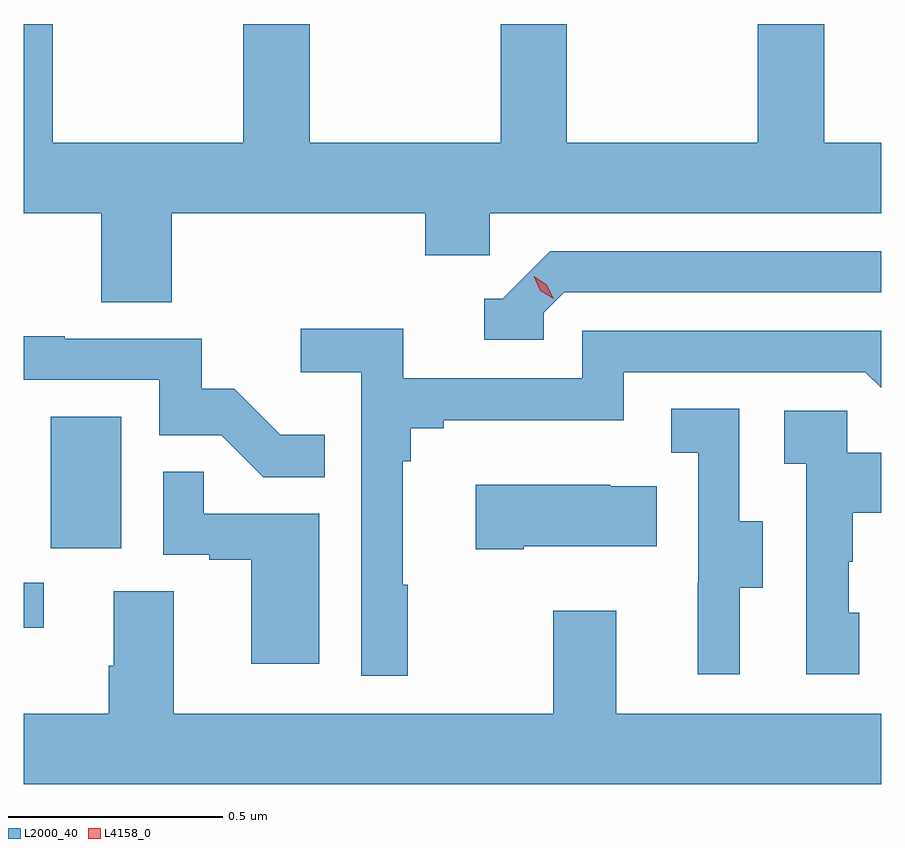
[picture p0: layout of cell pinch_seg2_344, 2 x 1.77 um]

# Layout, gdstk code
import gdstk
lib = gdstk.Library(unit=1e-6, precision=1e-09)
def R(c, l, rs):  # rectangles x0, y0, x1, y1
    for r in rs: c.add(gdstk.rectangle(r[:2], r[2:], *l))
def P(c, l, *ps):  # polygons
    for p in ps: c.add(gdstk.Polygon(p, *l))
L2000_40 = (2000, 40)
L4158_0 = (4158, 0)

pinch_seg2_344 = lib.new_cell('pinch_seg2_344')
R(pinch_seg2_344, L2000_40, [(984.659,636.012,984.706,636.117), (984.722,636.198,984.886,636.505)])
P(pinch_seg2_344, L2000_40, [(985.004,636.98),(985.595,636.98),(985.595,636.882),(985.746,636.882),(985.746,636.98),(986.659,636.98),(986.659,637.144),(986.526,637.144),(986.526,637.421),(986.371,637.421),(986.371,637.144),(985.926,637.144),(985.926,637.421),(985.771,637.421),(985.771,637.144),(985.326,637.144),(985.326,637.421),(985.171,637.421),(985.171,637.144),(984.726,637.144),(984.726,637.421),(984.659,637.421),(984.659,636.98),(984.839,636.98),(984.839,636.772),(985.004,636.772)],
  [(985.872,636.747),(985.92,636.795),(986.659,636.795),(986.659,636.891),(985.887,636.891),(985.776,636.78),(985.733,636.78),(985.733,636.684),(985.872,636.684)],
  [(985.555,636.113),(985.543,636.113),(985.543,636.401),(985.562,636.401),(985.562,636.478),(985.639,636.478),(985.639,636.497),(986.058,636.497),(986.058,636.609),(986.622,636.609),(986.659,636.572),(986.659,636.705),(985.962,636.705),(985.962,636.594),(985.544,636.594),(985.544,636.71),(985.305,636.71),(985.305,636.608),(985.446,636.608),(985.446,635.901),(985.555,635.901)],
  [(985.361,636.463),(985.257,636.463),(985.15,636.57),(985.074,636.57),(985.074,636.687),(984.755,636.687),(984.755,636.692),(984.659,636.692),(984.659,636.591),(984.975,636.591),(984.975,636.462),(985.119,636.462),(985.217,636.364),(985.361,636.364)],
  [(986.329,636.106),(986.383,636.106),(986.383,636.261),(986.328,636.261),(986.328,636.524),(986.169,636.524),(986.169,636.421),(986.232,636.421),(986.232,636.117),(986.231,636.117),(986.231,635.904),(986.329,635.904)],
  [(986.608,636.048),(986.583,636.048),(986.583,636.167),(986.593,636.167),(986.593,636.281),(986.659,636.281),(986.659,636.421),(986.58,636.421),(986.58,636.519),(986.433,636.519),(986.433,636.395),(986.484,636.395),(986.484,635.904),(986.608,635.904)],
  [(985.348,636.279),(985.079,636.279),(985.079,636.377),(984.984,636.377),(984.984,636.183),(985.091,636.183),(985.091,636.171),(985.19,636.171),(985.19,635.928),(985.348,635.928)],
  [(985.825,636.203),(986.135,636.203),(986.135,636.343),(986.027,636.343),(986.027,636.346),(985.713,636.346),(985.713,636.196),(985.825,636.196)],
  [(986.659,635.812),(986.041,635.812),(986.041,636.052),(985.894,636.052),(985.894,635.812),(985.009,635.812),(985.009,636.098),(984.869,636.098),(984.869,635.924),(984.857,635.924),(984.857,635.812),(984.659,635.812),(984.659,635.648),(986.659,635.648)])
P(pinch_seg2_344, L4158_0, [(985.895,636.78),(985.864,636.799),(985.848,636.832),(985.848,636.832),(985.848,636.832),(985.879,636.813),(985.895,636.78),(985.895,636.78)])

lib.write_gds('pinch_seg2_344.gds')
